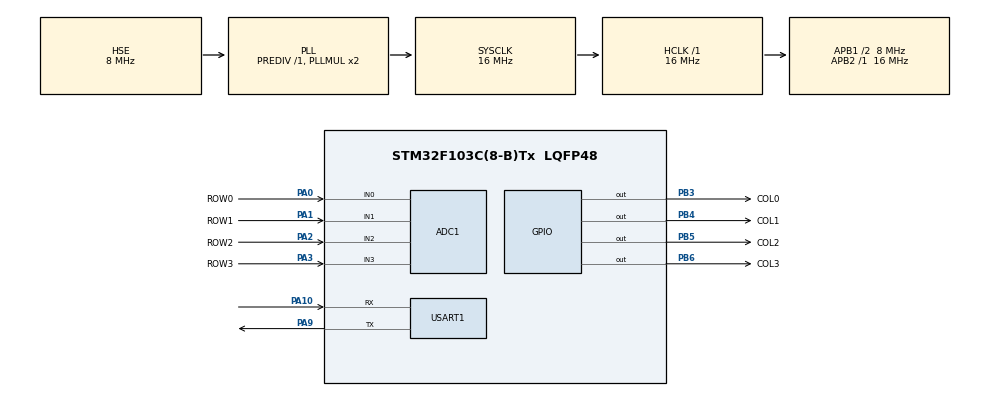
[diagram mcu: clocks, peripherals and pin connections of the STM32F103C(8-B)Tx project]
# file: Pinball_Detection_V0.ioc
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ADC1.Channel-10\#ChannelRegularConversion=ADC_CHANNEL_3
ADC1.Channel-4\#ChannelRegularConversion=ADC_CHANNEL_0
ADC1.Channel-8\#ChannelRegularConversion=ADC_CHANNEL_1
ADC1.Channel-9\#ChannelRegularConversion=ADC_CHANNEL_2
ADC1.ContinuousConvMode=DISABLE
ADC1.DiscontinuousConvMode=ENABLE
ADC1.EnableRegularConversion=ENABLE
ADC1.NbrOfConversion=4
ADC1.NbrOfConversionFlag=1
ADC1.NbrOfDiscConversion=4
ADC1.Rank-10\#ChannelRegularConversion=4
ADC1.Rank-4\#ChannelRegularConversion=1
ADC1.Rank-8\#ChannelRegularConversion=2
ADC1.Rank-9\#ChannelRegularConversion=3
ADC1.SamplingTime-10\#ChannelRegularConversion=ADC_SAMPLETIME_28CYCLES_5
ADC1.SamplingTime-4\#ChannelRegularConversion=ADC_SAMPLETIME_28CYCLES_5
ADC1.SamplingTime-8\#ChannelRegularConversion=ADC_SAMPLETIME_28CYCLES_5
ADC1.SamplingTime-9\#ChannelRegularConversion=ADC_SAMPLETIME_28CYCLES_5
ADC1.master=1
Dma.ADC1.0.Direction=DMA_PERIPH_TO_MEMORY
Dma.ADC1.0.Instance=DMA1_Channel1
Dma.ADC1.0.MemDataAlignment=DMA_MDATAALIGN_HALFWORD
Dma.ADC1.0.MemInc=DMA_MINC_ENABLE
Dma.ADC1.0.Mode=DMA_CIRCULAR
Dma.ADC1.0.PeriphDataAlignment=DMA_PDATAALIGN_HALFWORD
Dma.ADC1.0.PeriphInc=DMA_PINC_DISABLE
Dma.ADC1.0.Priority=DMA_PRIORITY_MEDIUM
Dma.Request0=ADC1
Mcu.Family=STM32F1
Mcu.Name=STM32F103C(8-B)Tx
Mcu.Package=LQFP48
NVIC.DMA1_Channel1_IRQn=true\:0\:0\:false\:false\:true\:false\:true
NVIC.PriorityGroup=NVIC_PRIORITYGROUP_4
PA0-WKUP.GPIO_Label=ROW0
PA0-WKUP.Signal=ADCx_IN0
PA1.GPIO_Label=ROW1
PA1.Signal=ADCx_IN1
PA10.Mode=Asynchronous
PA10.Signal=USART1_RX
PA13.Mode=Serial_Wire
PA13.Signal=SYS_JTMS-SWDIO
PA14.Mode=Serial_Wire
PA14.Signal=SYS_JTCK-SWCLK
PA2.GPIO_Label=ROW2
PA2.Signal=ADCx_IN2
PA3.GPIO_Label=ROW3
PA3.Signal=ADCx_IN3
PA9.Mode=Asynchronous
PA9.Signal=USART1_TX
PB3.GPIO_Label=COL0
PB3.Signal=GPIO_Output
PB4.GPIO_Label=COL1
PB4.Signal=GPIO_Output
PB5.GPIO_Label=COL2
PB5.Signal=GPIO_Output
PB6.GPIO_Label=COL3
PB6.Signal=GPIO_Output
PD0-OSC_IN.Mode=HSE-External-Oscillator
PD0-OSC_IN.Signal=RCC_OSC_IN
PD1-OSC_OUT.Mode=HSE-External-Oscillator
PD1-OSC_OUT.Signal=RCC_OSC_OUT
ProjectManager.HeapSize=0x200
ProjectManager.StackSize=0x400
ProjectManager.TargetToolchain=STM32CubeIDE
RCC.AHBFreq_Value=16000000
RCC.APB1CLKDivider=RCC_HCLK_DIV2
RCC.APB1Freq_Value=8000000
RCC.APB1TimFreq_Value=16000000
RCC.APB2Freq_Value=16000000
RCC.APB2TimFreq_Value=16000000
RCC.HCLKFreq_Value=16000000
RCC.PLLSourceVirtual=RCC_PLLSOURCE_HSE
RCC.SYSCLKFreq_VALUE=16000000
RCC.SYSCLKSource=RCC_SYSCLKSOURCE_PLLCLK
RCC.USBFreq_Value=16000000
SH.ADCx_IN0.0=ADC1_IN0,IN0
SH.ADCx_IN1.0=ADC1_IN1,IN1
SH.ADCx_IN2.0=ADC1_IN2,IN2
SH.ADCx_IN3.0=ADC1_IN3,IN3
USART1.VirtualMode=VM_ASYNC
board=custom

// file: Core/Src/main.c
/* USER CODE BEGIN Header */
/**
  ******************************************************************************
  * @file           : main.c
  * @brief          : Main program body
  ******************************************************************************
  * @attention
  *
  * <h2><center>&copy; Copyright (c) 2021 STMicroelectronics.
  * All rights reserved.</center></h2>
  *
  * This software component is licensed by ST under BSD 3-Clause license,
  * the "License"; You may not use this file except in compliance with the
  * License. You may obtain a copy of the License at:
  *                        opensource.org/licenses/BSD-3-Clause
  *
  ******************************************************************************
  */
/* USER CODE END Header */
#include "main.h"

/* USER CODE BEGIN Includes */
#include <stdlib.h>
#include <string.h>
#include <stdio.h>
/* USER CODE END Includes */

ADC_HandleTypeDef hadc1;
DMA_HandleTypeDef hdma_adc1;

UART_HandleTypeDef huart1;

/* USER CODE BEGIN PV */

Matrix m;

char output[255] = "";

volatile int adc_complete = 0;
volatile int adc_error = 0;
volatile uint8_t n_adc_conversions = 0;

/* USER CODE END PV */

void SystemClock_Config(void);
static void MX_GPIO_Init(void);
static void MX_DMA_Init(void);
static void MX_ADC1_Init(void);
static void MX_USART1_UART_Init(void);
/* USER CODE BEGIN PFP */
void set_col_active(int8_t col);
/* USER CODE END PFP */

int main(void)
{

  /* MCU Configuration--------------------------------------------------------*/

  /* Reset of all peripherals, Initializes the Flash interface and the Systick. */
  HAL_Init();

  /* Configure the system clock */
  SystemClock_Config();

  /* Initialize all configured peripherals */
  MX_GPIO_Init();
  MX_DMA_Init();
  MX_ADC1_Init();
  MX_USART1_UART_Init();
  /* USER CODE BEGIN 2 */

  HAL_ADCEx_Calibration_Start(&hadc1);
  set_col_active(-1);	// deactivate all

  sprintf(output, "Init abgeschlossen\r\n");
  HAL_UART_Transmit(&huart1, (uint8_t*)output, strlen(output), HAL_MAX_DELAY);

  /* USER CODE END 2 */

  /* Infinite loop */
  while (1)
  {

    /* USER CODE BEGIN 3 */

  	if(adc_error == 1){
  		adc_error = 0;
  		sprintf(output, "ADC Error\r\n");
  	  HAL_UART_Transmit(&huart1, (uint8_t*)output, strlen(output), HAL_MAX_DELAY);
  	  while(1);
  	}

  	for(int i = 0; i < ROW_N; i++){
  		set_col_active(i);
  		HAL_Delay(1);
  		HAL_ADC_Start_DMA(&hadc1, (uint32_t*)m.raw[i], 4);

  		while(adc_complete != 1);
  		adc_complete = 0;
  		HAL_ADC_Stop_DMA(&hadc1);

  		//HAL_ADC_Start(&hadc1);
  		//for(int j = 0; j < COLUMN_N; j++){

  			//HAL_ADC_PollForConversion(&hadc1, HAL_MAX_DELAY);
  			//uint16_t data = HAL_ADC_GetValue(&hadc1);
  			//m.col[i].r[j] = data;
  		//}
  		//HAL_ADC_Stop(&hadc1);

  		//HAL_Delay(100);
  	}
  	//HAL_ADC_Stop_DMA(&hadc1);

  	//sprintf(output, "\033[2J");		// for terminal: clear terminal
  	sprintf(output, "-\r\n");		// for processing to simulate a new-data symbol
		HAL_UART_Transmit(&huart1, (uint8_t*)output, strlen(output), HAL_MAX_DELAY);

  	for(int i = 0; i < ROW_N; i++){	// print data to uart
  		sprintf(output, "%d,%d,%d,%d,\r\n", m.raw[0][i], m.raw[1][i], m.raw[2][i], m.raw[3][i]);
  		HAL_UART_Transmit(&huart1, (uint8_t*)output, strlen(output), HAL_MAX_DELAY);
  	}

  	HAL_Delay(100);

  }

  /* USER CODE END 3 */
}

void SystemClock_Config(void)
{
  RCC_OscInitTypeDef RCC_OscInitStruct = {0};
  RCC_ClkInitTypeDef RCC_ClkInitStruct = {0};
  RCC_PeriphCLKInitTypeDef PeriphClkInit = {0};

  /** Initializes the RCC Oscillators according to the specified parameters
  * in the RCC_OscInitTypeDef structure.
  */
  RCC_OscInitStruct.OscillatorType = RCC_OSCILLATORTYPE_HSE;
  RCC_OscInitStruct.HSEState = RCC_HSE_ON;
  RCC_OscInitStruct.HSEPredivValue = RCC_HSE_PREDIV_DIV1;
  RCC_OscInitStruct.HSIState = RCC_HSI_ON;
  RCC_OscInitStruct.PLL.PLLState = RCC_PLL_ON;
  RCC_OscInitStruct.PLL.PLLSource = RCC_PLLSOURCE_HSE;
  RCC_OscInitStruct.PLL.PLLMUL = RCC_PLL_MUL2;
  if (HAL_RCC_OscConfig(&RCC_OscInitStruct) != HAL_OK)
  {
    Error_Handler();
  }
  /** Initializes the CPU, AHB and APB buses clocks
  */
  RCC_ClkInitStruct.ClockType = RCC_CLOCKTYPE_HCLK|RCC_CLOCKTYPE_SYSCLK
                              |RCC_CLOCKTYPE_PCLK1|RCC_CLOCKTYPE_PCLK2;
  RCC_ClkInitStruct.SYSCLKSource = RCC_SYSCLKSOURCE_PLLCLK;
  RCC_ClkInitStruct.AHBCLKDivider = RCC_SYSCLK_DIV1;
  RCC_ClkInitStruct.APB1CLKDivider = RCC_HCLK_DIV2;
  RCC_ClkInitStruct.APB2CLKDivider = RCC_HCLK_DIV1;

  if (HAL_RCC_ClockConfig(&RCC_ClkInitStruct, FLASH_LATENCY_0) != HAL_OK)
  {
    Error_Handler();
  }
  PeriphClkInit.PeriphClockSelection = RCC_PERIPHCLK_ADC;
  PeriphClkInit.AdcClockSelection = RCC_ADCPCLK2_DIV2;
  if (HAL_RCCEx_PeriphCLKConfig(&PeriphClkInit) != HAL_OK)
  {
    Error_Handler();
  }
}

static void MX_ADC1_Init(void)
{

  ADC_ChannelConfTypeDef sConfig = {0};

  /** Common config
  */
  hadc1.Instance = ADC1;
  hadc1.Init.ScanConvMode = ADC_SCAN_ENABLE;
  hadc1.Init.ContinuousConvMode = DISABLE;
  hadc1.Init.DiscontinuousConvMode = ENABLE;
  hadc1.Init.NbrOfDiscConversion = 4;
  hadc1.Init.ExternalTrigConv = ADC_SOFTWARE_START;
  hadc1.Init.DataAlign = ADC_DATAALIGN_RIGHT;
  hadc1.Init.NbrOfConversion = 4;
  if (HAL_ADC_Init(&hadc1) != HAL_OK)
  {
    Error_Handler();
  }
  /** Configure Regular Channel
  */
  sConfig.Channel = ADC_CHANNEL_0;
  sConfig.Rank = ADC_REGULAR_RANK_1;
  sConfig.SamplingTime = ADC_SAMPLETIME_28CYCLES_5;
  if (HAL_ADC_ConfigChannel(&hadc1, &sConfig) != HAL_OK)
  {
    Error_Handler();
  }
  /** Configure Regular Channel
  */
  sConfig.Channel = ADC_CHANNEL_1;
  sConfig.Rank = ADC_REGULAR_RANK_2;
  if (HAL_ADC_ConfigChannel(&hadc1, &sConfig) != HAL_OK)
  {
    Error_Handler();
  }
  /** Configure Regular Channel
  */
  sConfig.Channel = ADC_CHANNEL_2;
  sConfig.Rank = ADC_REGULAR_RANK_3;
  if (HAL_ADC_ConfigChannel(&hadc1, &sConfig) != HAL_OK)
  {
    Error_Handler();
  }
  /** Configure Regular Channel
  */
  sConfig.Channel = ADC_CHANNEL_3;
  sConfig.Rank = ADC_REGULAR_RANK_4;
  if (HAL_ADC_ConfigChannel(&hadc1, &sConfig) != HAL_OK)
  {
    Error_Handler();
  }

}

static void MX_USART1_UART_Init(void)
{

  huart1.Instance = USART1;
  huart1.Init.BaudRate = 115200;
  huart1.Init.WordLength = UART_WORDLENGTH_8B;
  huart1.Init.StopBits = UART_STOPBITS_1;
  huart1.Init.Parity = UART_PARITY_NONE;
  huart1.Init.Mode = UART_MODE_TX_RX;
  huart1.Init.HwFlowCtl = UART_HWCONTROL_NONE;
  huart1.Init.OverSampling = UART_OVERSAMPLING_16;
  if (HAL_UART_Init(&huart1) != HAL_OK)
  {
    Error_Handler();
  }

}

static void MX_DMA_Init(void)
{

  /* DMA controller clock enable */
  __HAL_RCC_DMA1_CLK_ENABLE();

  /* DMA interrupt init */
  /* DMA1_Channel1_IRQn interrupt configuration */
  HAL_NVIC_SetPriority(DMA1_Channel1_IRQn, 0, 0);
  HAL_NVIC_EnableIRQ(DMA1_Channel1_IRQn);

}

static void MX_GPIO_Init(void)
{
  GPIO_InitTypeDef GPIO_InitStruct = {0};

  /* GPIO Ports Clock Enable */
  __HAL_RCC_GPIOD_CLK_ENABLE();
  __HAL_RCC_GPIOA_CLK_ENABLE();
  __HAL_RCC_GPIOB_CLK_ENABLE();

  /*Configure GPIO pin Output Level */
  HAL_GPIO_WritePin(GPIOB, COL0_Pin|COL1_Pin|COL2_Pin|COL3_Pin, GPIO_PIN_RESET);

  /*Configure GPIO pins : COL0_Pin COL1_Pin COL2_Pin COL3_Pin */
  GPIO_InitStruct.Pin = COL0_Pin|COL1_Pin|COL2_Pin|COL3_Pin;
  GPIO_InitStruct.Mode = GPIO_MODE_OUTPUT_PP;
  GPIO_InitStruct.Pull = GPIO_NOPULL;
  GPIO_InitStruct.Speed = GPIO_SPEED_FREQ_LOW;
  HAL_GPIO_Init(GPIOB, &GPIO_InitStruct);

}

/* USER CODE BEGIN 4 */

/**
 * @brief Function to activate corresponding column
 * @param col: column to be activated, if col == -1: deactivate all
 * @return None
 */
void set_col_active(int8_t col)
{
	switch(col)
	{
	case 0:
		HAL_GPIO_WritePin(COL0_GPIO_Port, (COL0_Pin | COL1_Pin | COL2_Pin | COL3_Pin), RESET);
		HAL_GPIO_WritePin(COL0_GPIO_Port, COL0_Pin, SET);

		break;
	case 1:
		HAL_GPIO_WritePin(COL0_GPIO_Port, (COL0_Pin | COL1_Pin | COL2_Pin | COL3_Pin), RESET);
		HAL_GPIO_WritePin(COL0_GPIO_Port, COL1_Pin, SET);

		break;
	case 2:
		HAL_GPIO_WritePin(COL0_GPIO_Port, (COL0_Pin | COL1_Pin | COL2_Pin | COL3_Pin), RESET);
		HAL_GPIO_WritePin(COL0_GPIO_Port, COL2_Pin, SET);

		break;
	case 3:
		HAL_GPIO_WritePin(COL0_GPIO_Port, (COL0_Pin | COL1_Pin | COL2_Pin | COL3_Pin), RESET);
		HAL_GPIO_WritePin(COL0_GPIO_Port, COL3_Pin, SET);
		break;
	case -1:
		HAL_GPIO_WritePin(COL0_GPIO_Port, (COL0_Pin | COL1_Pin | COL2_Pin | COL3_Pin), RESET);

		break;
	}

}

// Called when buffer is completely filled
void HAL_ADC_ConvCpltCallback(ADC_HandleTypeDef* hadc) {

	adc_complete = 1;

}

void HAL_ADC_ErrorCallback(ADC_HandleTypeDef* hadc){
	adc_error = 1;
}

/* USER CODE END 4 */

void Error_Handler(void)
{
  __disable_irq();
  while (1)
  {
  }
}

/************************ (C) COPYRIGHT STMicroelectronics *****END OF FILE****/
